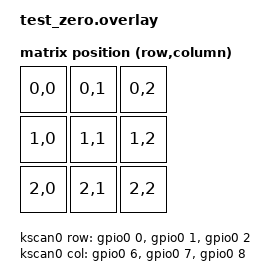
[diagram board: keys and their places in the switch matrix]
/*
 * SPDX-License-Identifier: MIT
 */

#include <dt-bindings/zmk/matrix_transform.h>
#include <dt-bindings/pinctrl/rpi-pico-rp2040-pinctrl.h>

/ {
    chosen {
        zmk,kscan = &kscan0;
        zmk,matrix-transform = &default_transform;
        zephyr,display = &oled;
		zmk,display-status-screens = <&default_screen>;
    };

     default_screen: screen_0 {
        compatible = "zmk,display-status-screen";
    };

    default_transform: keymap_transform_0 {
        compatible = "zmk,matrix-transform";
        columns = <3>;
        rows = <3>;
        map = <
            RC(0,0) RC(0,1) RC(0,2)
            RC(1,0) RC(1,1) RC(1,2)
            RC(2,0) RC(2,1) RC(2,2)
        >;
    };

    kscan0: kscan_0 {
        compatible = "zmk,kscan-gpio-matrix";
        label = "KSCAN";
        diode-direction = "col2row";

        row-gpios = <&gpio0 0 (GPIO_ACTIVE_HIGH | GPIO_PULL_DOWN)>,
                    <&gpio0 1 (GPIO_ACTIVE_HIGH | GPIO_PULL_DOWN)>,
                    <&gpio0 2 (GPIO_ACTIVE_HIGH | GPIO_PULL_DOWN)>;

        col-gpios = <&gpio0 6 GPIO_ACTIVE_HIGH>,
                    <&gpio0 7 GPIO_ACTIVE_HIGH>,
                    <&gpio0 8 GPIO_ACTIVE_HIGH>;
    };
};

&i2c0 {
    status = "okay";
    pinctrl-0 = <&i2c0_default>;
    pinctrl-names = "default";

    // Add required clock-frequency for Zephyr I2C driver
    clock-frequency = <400000>;   // 400 kHz

    oled: ssd1306@3c {
        compatible = "solomon,ssd1306fb";
        reg = <0x3c>;
        label = "SSD1306";
        width = <128>;
        height = <64>;

        segment-offset = <0>;
        page-offset = <0>;
        display-offset = <0>;        // Required by ssd1306 binding
        prechargep = <0x22>;
        multiplex-ratio = <63>;

        //reset-gpios = <&gpio0 15 GPIO_ACTIVE_LOW>;
    };
};

&pinctrl {
    i2c0_default: i2c0_default {
        group1 {
            pinmux = <I2C0_SDA_P4 I2C0_SCL_P5>;
            input-enable;
            input-schmitt-enable;
        };
    };
};
